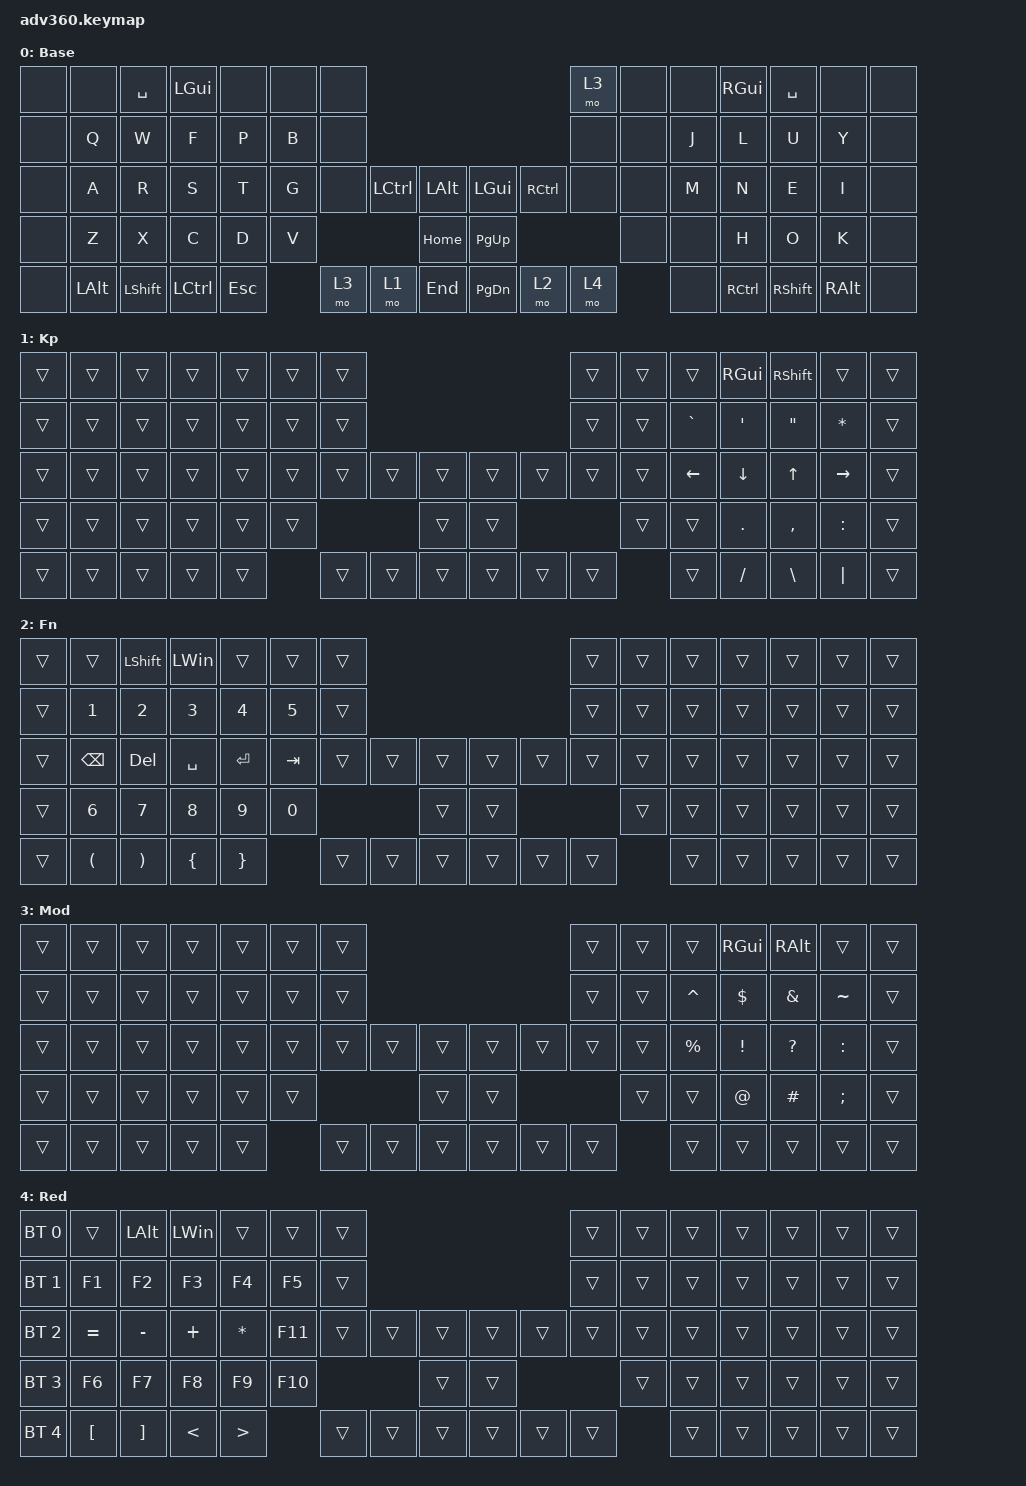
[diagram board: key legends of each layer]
#include <dt-bindings/zmk/stp.h>
#include <behaviors.dtsi>
#include <dt-bindings/zmk/bt.h>
#include <dt-bindings/zmk/keys.h>

/ {
    behaviors {
        #include "macros.dtsi"
      #include "version.dtsi"

        hm: homerow_mods {
            compatible = "zmk,behavior-hold-tap";
            label = "HOMEROW_MODS";
            #binding-cells = <2>;
            tapping-term-ms = <200>;
            quick_tap_ms = <175>;
            flavor = "tap-preferred";
            bindings = <&kp>, <&kp>;
        };
    };

    keymap {
        compatible = "zmk,keymap";

        default_layer {
            display-name = "Base";
            bindings = <
&none  &none     &kp SPACE   &kp LGUI   &none    &none  &none                                                 &mo 3  &none  &none  &kp RGUI   &kp SPACE   &none     &none
&none  &kp Q     &kp W       &kp F      &kp P    &kp B  &none                                                 &none  &none  &kp J  &kp L      &kp U       &kp Y     &none
&none  &kp A     &kp R       &kp S      &kp T    &kp G  &none  &kp LCTRL  &kp LALT      &kp LGUI   &kp RCTRL  &none  &none  &kp M  &kp N      &kp E       &kp I     &none
&none  &kp Z     &kp X       &kp C      &kp D    &kp V                    &kp HOME      &kp PG_UP                    &none  &none  &kp H      &kp O       &kp K     &none
&none  &kp LALT  &kp LSHIFT  &kp LCTRL  &kp ESC         &mo 3  &mo 1      &kp END       &kp PG_DN  &mo 2      &mo 4         &none  &kp RCTRL  &kp RSHIFT  &kp RALT  &none
            >;
        };

        keypad {
            display-name = "Kp";
            bindings = <
&trans  &trans  &trans  &trans  &trans  &trans  &trans                                      &trans  &trans  &trans     &kp RGUI          &kp RSHIFT         &trans        &trans
&trans  &trans  &trans  &trans  &trans  &trans  &trans                                      &trans  &trans  &kp GRAVE  &kp SINGLE_QUOTE  &kp DOUBLE_QUOTES  &kp ASTERISK  &trans
&trans  &trans  &trans  &trans  &trans  &trans  &trans  &trans  &trans      &trans  &trans  &trans  &trans  &kp LEFT   &kp DOWN          &kp UP             &kp RIGHT     &trans
&trans  &trans  &trans  &trans  &trans  &trans                  &trans      &trans                  &trans  &trans     &kp DOT           &kp COMMA          &kp COLON     &trans
&trans  &trans  &trans  &trans  &trans          &trans  &trans  &trans      &trans  &trans  &trans          &trans     &kp FSLH          &kp BSLH           &kp PIPE      &trans
            >;
        };

        fn {
            display-name = "Fn";
            bindings = <
&trans  &trans         &kp LSHIFT  &kp LWIN   &trans     &trans   &trans                                      &trans  &trans  &trans  &trans  &trans  &trans  &trans
&trans  &kp N1         &kp N2      &kp N3     &kp N4     &kp N5   &trans                                      &trans  &trans  &trans  &trans  &trans  &trans  &trans
&trans  &kp BACKSPACE  &kp DELETE  &kp SPACE  &kp ENTER  &kp TAB  &trans  &trans  &trans      &trans  &trans  &trans  &trans  &trans  &trans  &trans  &trans  &trans
&trans  &kp N6         &kp N7      &kp N8     &kp N9     &kp N0                   &trans      &trans                  &trans  &trans  &trans  &trans  &trans  &trans
&trans  &kp LPAR       &kp RPAR    &kp LBRC   &kp RBRC            &trans  &trans  &trans      &trans  &trans  &trans          &trans  &trans  &trans  &trans  &trans
            >;
        };

        mod {
            display-name = "Mod";
            bindings = <
&trans  &trans  &trans  &trans  &trans  &trans  &trans                                      &trans  &trans  &trans       &kp RGUI    &kp RALT       &trans     &trans
&trans  &trans  &trans  &trans  &trans  &trans  &trans                                      &trans  &trans  &kp CARET    &kp DOLLAR  &kp AMPERSAND  &kp TILDE  &trans
&trans  &trans  &trans  &trans  &trans  &trans  &trans  &trans  &trans      &trans  &trans  &trans  &trans  &kp PERCENT  &kp EXCL    &kp QMARK      &kp COLON  &trans
&trans  &trans  &trans  &trans  &trans  &trans                  &trans      &trans                  &trans  &trans       &kp AT      &kp HASH       &kp SEMI   &trans
&trans  &trans  &trans  &trans  &trans          &trans  &trans  &trans      &trans  &trans  &trans          &trans       &trans      &trans         &trans     &trans
            >;
        };

        extra1 {
            display-name = "Red";
            bindings = <
&bt BT_SEL 0  &trans            &kp LALT           &kp LWIN       &trans            &trans   &trans                                      &trans  &trans  &trans  &trans  &trans  &trans  &trans
&bt BT_SEL 1  &kp F1            &kp F2             &kp F3         &kp F4            &kp F5   &trans                                      &trans  &trans  &trans  &trans  &trans  &trans  &trans
&bt BT_SEL 2  &kp EQUAL         &kp MINUS          &kp PLUS       &kp STAR          &kp F11  &trans  &trans  &trans      &trans  &trans  &trans  &trans  &trans  &trans  &trans  &trans  &trans
&bt BT_SEL 3  &kp F6            &kp F7             &kp F8         &kp F9            &kp F10                  &trans      &trans                  &trans  &trans  &trans  &trans  &trans  &trans
&bt BT_SEL 4  &kp LEFT_BRACKET  &kp RIGHT_BRACKET  &kp LESS_THAN  &kp GREATER_THAN           &trans  &trans  &trans      &trans  &trans  &trans          &trans  &trans  &trans  &trans  &trans
            >;
        };

        extra2 {
            display-name = "Purple";
            status = "reserved";
        };

        extra3 {
            display-name = "Cyan";
            status = "reserved";
        };

        extra4 {
            display-name = "Yellow";
            status = "reserved";
        };
    };
};
